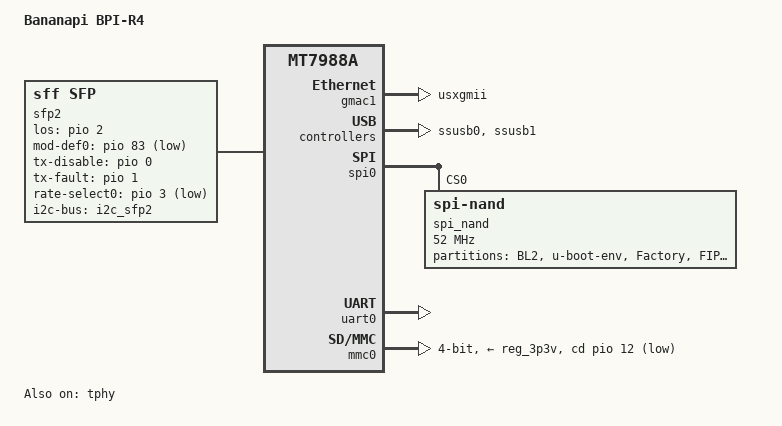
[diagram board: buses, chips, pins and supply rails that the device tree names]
// SPDX-License-Identifier: (GPL-2.0 OR MIT)
/*
 * Copyright (C) 2022 MediaTek Inc.
 * Author: Sam.Shih <sam.shih@mediatek.com>
 */

#include "mt7988a-bananapi-bpi-r4.dtsi"
#include <dt-bindings/gpio/gpio.h>
#include <dt-bindings/input/input.h>
#include <dt-bindings/leds/common.h>
#include <dt-bindings/regulator/richtek,rt5190a-regulator.h>

/ {
	model = "Bananapi BPI-R4";
	compatible = "bananapi,bpi-r4",
		     "mediatek,mt7988a";

	/* SFP2 cage (LAN) */
	sfp2: sfp2 {
		compatible = "sff,sfp";
		i2c-bus = <&i2c_sfp2>;
		los-gpios = <&pio 2 GPIO_ACTIVE_HIGH>;
		mod-def0-gpios = <&pio 83 GPIO_ACTIVE_LOW>;
		tx-disable-gpios = <&pio 0 GPIO_ACTIVE_HIGH>;
		tx-fault-gpios = <&pio 1 GPIO_ACTIVE_HIGH>;
		rate-select0-gpios = <&pio 3 GPIO_ACTIVE_LOW>;
		maximum-power-milliwatt = <3000>;
	};
};

&gmac1 {
	sfp = <&sfp2>;
	managed = "in-band-status";
	phy-mode = "usxgmii";
	status = "okay";
};

&pca9545 {
	i2c_sfp2: i2c@2 {
		#address-cells = <1>;
		#size-cells = <0>;
		reg = <2>;
	};
};

&ssusb0 {
	status = "okay";
};

&ssusb1 {
	status = "okay";
};

&tphy {
	status = "okay";
};

&spi0 {
	pinctrl-names = "default";
	pinctrl-0 = <&spi0_flash_pins>;
	status = "okay";

	spi_nand: spi_nand@0 {
		compatible = "spi-nand";
		reg = <0>;
		spi-max-frequency = <52000000>;
		spi-tx-buswidth = <4>;
		spi-rx-buswidth = <4>;
	};
};

&spi_nand {
  partitions {
		compatible = "fixed-partitions";
		#address-cells = <1>;
		#size-cells = <1>;

		partition@0 {
			label = "BL2";
			reg = <0x00000 0x0100000>;
			read-only;
		};

		partition@100000 {
			label = "u-boot-env";
			reg = <0x100000 0x0080000>;
			read-only; /* Protecting your environment variables */
		};

		partition@180000 {
			label = "Factory";
			reg = <0x180000 0x0400000>;
			read-only; /* Calibration data - CRITICAL to keep RO */
		};

		partition@580000 {
			label = "FIP";
			reg = <0x580000 0x0200000>;
			read-only;
		};

		partition@780000 {
			label = "ubi";
			reg = <0x780000 0x7880000>;
			/* No ubi compatibility string here prevents auto-attach */
			read-only; 
		};
	};
};

&uart0 {
	status = "okay";
};

&mmc0 {
	pinctrl-names = "default", "state_uhs";
	pinctrl-0 = <&mmc0_pins_sdcard>;
	pinctrl-1 = <&mmc0_pins_sdcard>;
	cd-gpios = <&pio 12 GPIO_ACTIVE_LOW>;
	bus-width = <4>;
	max-frequency = <52000000>;
	cap-sd-highspeed;
	vmmc-supply = <&reg_3p3v>;
	vqmmc-supply = <&reg_3p3v>;
	no-mmc;
	#address-cells = <1>;
	#size-cells = <0>;
	status = "okay";
};
